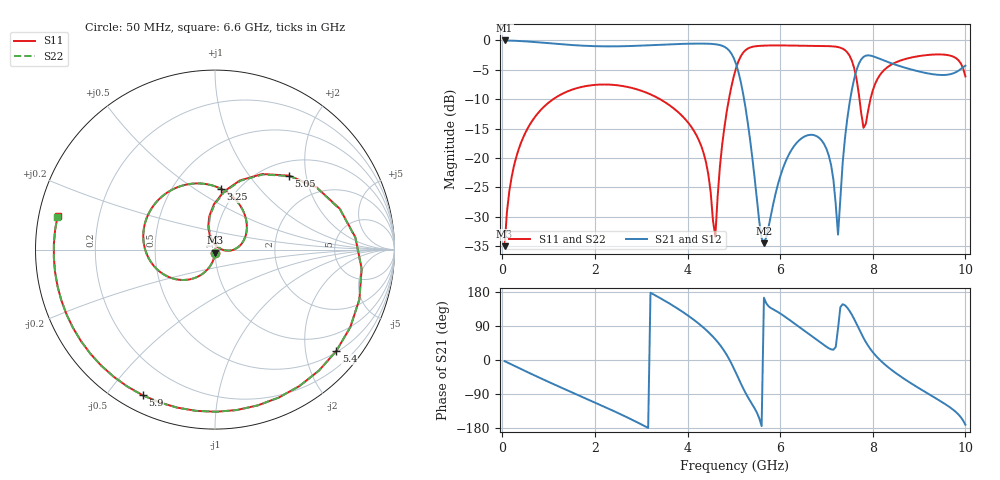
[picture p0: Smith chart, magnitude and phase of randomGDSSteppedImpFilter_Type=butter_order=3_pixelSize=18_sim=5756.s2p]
! freq	dB(S11)	phase(S11)	dB(S12)	phase(S12)
!  dB(S21)	phase(S21)	dB(S22)	phase(S22)
!S-par simulation data
#  GHz  S  DB  R 50
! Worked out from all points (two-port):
!   200 points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, 50 MHz to 10 GHz, reference 50 ohm
!   highest |S21| = -0.02 dB at 50 MHz (marker M1); lowest = -34.5 dB at 5.65 GHz (marker M2)
!   |S21| within 3 dB of the highest: start of sweep to 4.998 GHz; 7.776 GHz to 8.112 GHz (336.6 MHz wide, 4.24 % of centre)
!   lowest |S11| = -35.0 dB at 50 MHz (marker M3), VSWR 1.04, Z = 50 - j1.78 ohm
!   |S11| at or under -10 dB: start of sweep to 1.1 GHz; 3.405 GHz to 4.894 GHz (1.489 GHz wide, 35.9 % of centre); 7.713 GHz to 7.949 GHz (236.1 MHz wide, 3.02 % of centre)
!   |S22| runs from -35.0 to -0.9 dB; largest |S21 - S12| = 0
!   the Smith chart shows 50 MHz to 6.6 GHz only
!   S11 on the Smith chart (normalised r, x): 50 MHz: 1.00, -0.04; 3.25 GHz: 0.84, +0.65; 5.05 GHz: 1.28, +1.60; 5.4 GHz: 0.53, -2.66; 5.9 GHz: 0.07, -0.62; 6.6 GHz: 0.05, +0.10
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0.05  -35.00 -89.6  -0.02 -3.0  -0.02 -3.0  -35.00 -89.6
0.5  -15.69 -119.6  -0.17 -29.4  -0.17 -29.4  -15.69 -119.6
1.75  -7.86 170.8  -0.91 -98.7  -0.91 -98.7  -7.86 170.8
3.25  -9.37 84.2  -0.81 174.2  -0.81 174.2  -9.37 84.2
3.4  -9.98 74.3  -0.75 164.0  -0.75 164.0  -9.98 74.2
4.3  -18.05 4.5  -0.55 90.1  -0.55 90.1  -18.04 5.0
4.6  -33.36 71.0  -0.66 54.7  -0.66 54.7  -32.50 69.0
4.85  -11.98 91.5  -1.37 12.7  -1.37 12.7  -11.96 90.5
5.05  -4.68 45.0  -4.07 -35.2  -4.07 -35.2  -4.67 44.5
5.4  -1.10 -39.9  -20.01 -117.8  -20.01 -117.8  -1.10 -40.1
5.65  -0.90 -82.3  -34.48 164.4  -34.48 164.4  -0.89 -82.3
5.9  -0.86 -116.4  -26.10 130.3  -26.10 130.3  -0.86 -116.3
6.6  -0.95 168.0  -16.12 70.0  -16.12 70.0  -0.94 168.2
6.7  -0.95 158.3  -16.07 61.1  -16.07 61.1  -0.95 158.5
7.05  -0.98 123.3  -19.58 31.1  -19.58 31.1  -0.98 123.6
7.25  -1.14 100.5  -33.03 83.4  -33.03 83.4  -1.14 100.7
7.4  -1.66 79.6  -16.60 144.4  -16.60 144.4  -1.66 79.9
7.65  -6.60 37.7  -5.03 95.3  -5.03 95.3  -6.59 38.1
7.8  -14.87 59.0  -2.81 58.3  -2.81 58.3  -14.78 59.3
8.35  -4.38 66.0  -3.75 -20.9  -3.75 -20.9  -4.38 66.1
9.25  -2.44 -1.9  -5.70 -93.0  -5.70 -93.0  -2.45 -1.9
10  -6.13 -56.7  -4.31 -170.8  -4.31 -170.8  -6.19 -57.3
